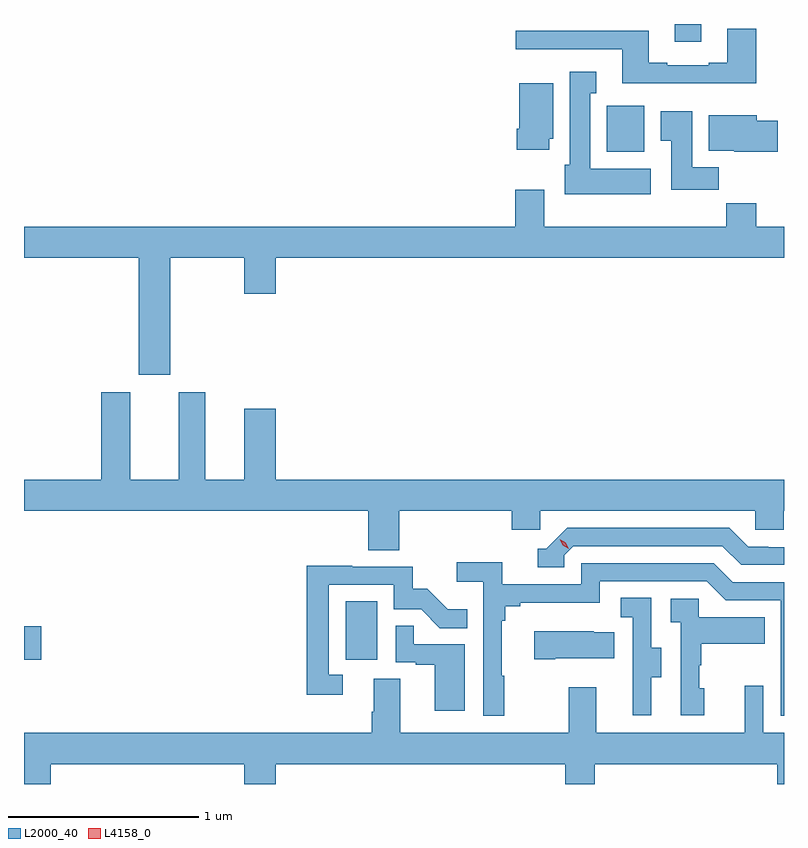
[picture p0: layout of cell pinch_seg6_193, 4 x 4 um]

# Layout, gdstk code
import gdstk
lib = gdstk.Library(unit=1e-6, precision=1e-09)
def R(c, l, rs):  # rectangles x0, y0, x1, y1
    for r in rs: c.add(gdstk.rectangle(r[:2], r[2:], *l))
def P(c, l, *ps):  # polygons
    for p in ps: c.add(gdstk.Polygon(p, *l))
L2000_40 = (2000, 40)
L4158_0 = (4158, 0)

pinch_seg6_193 = lib.new_cell('pinch_seg6_193')
R(pinch_seg6_193, L2000_40, [(1026.984,926.572,1027.075,926.75), (1028.678,926.574,1028.842,926.881), (1030.052,929.246,1030.249,929.488), (1030.409,929.826,1030.549,929.919)])
P(pinch_seg6_193, L2000_40, [(1030.838,929.893),(1030.685,929.893),(1030.685,929.716),(1030.589,929.716),(1030.589,929.703),(1030.369,929.703),(1030.369,929.716),(1030.273,929.716),(1030.273,929.884),(1029.573,929.884),(1029.573,929.787),(1030.133,929.787),(1030.133,929.606),(1030.838,929.606)],
  [(1030.282,929.158),(1029.964,929.158),(1029.964,929.555),(1029.997,929.555),(1029.997,929.668),(1029.857,929.668),(1029.857,929.178),(1029.83,929.178),(1029.83,929.024),(1030.282,929.024)],
  [(1029.748,929.316),(1029.769,929.316),(1029.769,929.608),(1029.59,929.608),(1029.59,929.368),(1029.578,929.368),(1029.578,929.256),(1029.748,929.256)],
  [(1030.64,929.164),(1030.501,929.164),(1030.501,929.461),(1030.334,929.461),(1030.334,929.305),(1030.391,929.305),(1030.391,929.046),(1030.64,929.046)],
  [(1030.951,929.41),(1030.84,929.41),(1030.84,929.44),(1030.589,929.44),(1030.589,929.252),(1030.722,929.252),(1030.722,929.246),(1030.951,929.246)],
  [(1027.753,928.688),(1028.144,928.688),(1028.144,928.5),(1028.308,928.5),(1028.308,928.688),(1030.984,928.688),(1030.984,928.852),(1030.838,928.852),(1030.838,928.976),(1030.681,928.976),(1030.681,928.852),(1029.721,928.852),(1029.721,929.047),(1029.569,929.047),(1029.569,928.852),(1026.984,928.852),(1026.984,928.688),(1027.589,928.688),(1027.589,928.074),(1027.753,928.074)],
  [(1028.96,927.356),(1029.551,927.356),(1029.551,927.258),(1029.702,927.258),(1029.702,927.356),(1030.833,927.356),(1030.833,927.258),(1030.983,927.258),(1030.983,927.356),(1030.984,927.356),(1030.984,927.52),(1028.308,927.52),(1028.308,927.895),(1028.144,927.895),(1028.144,927.52),(1027.939,927.52),(1027.939,927.982),(1027.799,927.982),(1027.799,927.52),(1027.543,927.52),(1027.543,927.982),(1027.391,927.982),(1027.391,927.52),(1026.984,927.52),(1026.984,927.356),(1028.795,927.356),(1028.795,927.148),(1028.96,927.148)],
  [(1029.828,927.123),(1029.876,927.171),(1030.659,927.171),(1030.758,927.072),(1030.984,927.072),(1030.984,927.165),(1030.902,927.165),(1030.902,927.168),(1030.795,927.168),(1030.696,927.267),(1029.843,927.267),(1029.732,927.156),(1029.689,927.156),(1029.689,927.06),(1029.828,927.06)],
  [(1029.511,926.489),(1029.499,926.489),(1029.499,926.777),(1029.518,926.777),(1029.518,926.854),(1029.595,926.854),(1029.595,926.873),(1030.014,926.873),(1030.014,926.985),(1030.578,926.985),(1030.677,926.886),(1030.968,926.886),(1030.968,926.277),(1030.984,926.277),(1030.984,926.982),(1030.714,926.982),(1030.615,927.081),(1029.918,927.081),(1029.918,926.97),(1029.5,926.97),(1029.5,927.086),(1029.261,927.086),(1029.261,926.984),(1029.402,926.984),(1029.402,926.277),(1029.511,926.277)],
  [(1028.662,926.493),(1028.589,926.493),(1028.589,926.967),(1028.931,926.967),(1028.931,926.838),(1029.075,926.838),(1029.173,926.74),(1029.317,926.74),(1029.317,926.839),(1029.213,926.839),(1029.106,926.946),(1029.03,926.946),(1029.03,927.063),(1028.711,927.063),(1028.711,927.068),(1028.473,927.068),(1028.473,926.388),(1028.662,926.388)],
  [(1030.285,926.482),(1030.339,926.482),(1030.339,926.637),(1030.284,926.637),(1030.284,926.9),(1030.125,926.9),(1030.125,926.797),(1030.188,926.797),(1030.188,926.493),(1030.187,926.493),(1030.187,926.28),(1030.285,926.28)],
  [(1030.564,926.424),(1030.539,926.424),(1030.539,926.543),(1030.549,926.543),(1030.549,926.657),(1030.883,926.657),(1030.883,926.797),(1030.536,926.797),(1030.536,926.895),(1030.389,926.895),(1030.389,926.771),(1030.44,926.771),(1030.44,926.28),(1030.564,926.28)],
  [(1029.304,926.655),(1029.035,926.655),(1029.035,926.753),(1028.94,926.753),(1028.94,926.559),(1029.047,926.559),(1029.047,926.547),(1029.146,926.547),(1029.146,926.304),(1029.304,926.304)],
  [(1029.781,926.582),(1030.091,926.582),(1030.091,926.719),(1029.983,926.719),(1029.983,926.722),(1029.669,926.722),(1029.669,926.575),(1029.781,926.575)],
  [(1027.124,926.024),(1028.144,926.024),(1028.144,925.919),(1028.308,925.919),(1028.308,926.024),(1029.833,926.024),(1029.833,925.919),(1029.989,925.919),(1029.989,926.024),(1030.949,926.024),(1030.949,925.919),(1030.984,925.919),(1030.984,926.188),(1030.875,926.188),(1030.875,926.437),(1030.778,926.437),(1030.778,926.188),(1029.997,926.188),(1029.997,926.428),(1029.85,926.428),(1029.85,926.188),(1028.965,926.188),(1028.965,926.474),(1028.825,926.474),(1028.825,926.3),(1028.813,926.3),(1028.813,926.188),(1026.984,926.188),(1026.984,925.919),(1027.124,925.919)])
P(pinch_seg6_193, L4158_0, [(1029.851,927.157),(1029.82,927.176),(1029.804,927.208),(1029.804,927.208),(1029.804,927.208),(1029.835,927.189),(1029.852,927.157),(1029.852,927.157)])

lib.write_gds('pinch_seg6_193.gds')
